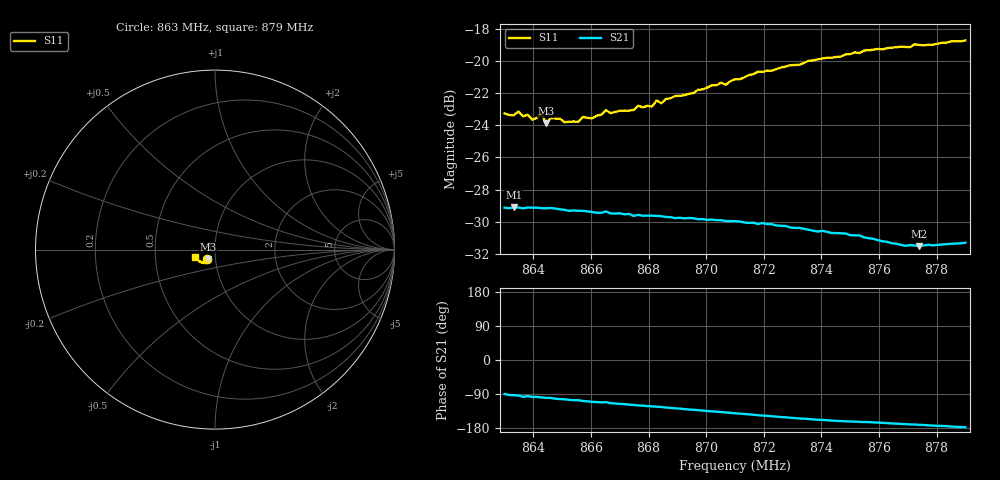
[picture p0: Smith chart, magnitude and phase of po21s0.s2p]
# HZ S RI R 50
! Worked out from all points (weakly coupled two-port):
!   101 points, 863 MHz to 879 MHz, reference 50 ohm
!   highest |S21| = -29.12 dB at 863.32 MHz (marker M1); lowest = -31.5 dB at 877.4 MHz (marker M2)
!   lowest |S11| = -23.9 dB at 864.44 MHz (marker M3), VSWR 1.14, Z = 46.2 - j4.84 ohm
!   |S11| at or under -10 dB: start of sweep to end of sweep
!   S12 and S22 are empty: the file has one direction only
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8.63e8  -0.0457 -0.0513  9.2e-05 -0.035  0 0  0 0
8.6332e8  -0.0436 -0.052  -0.00181 -0.035  0 0  0 0
8.6348e8  -0.0451 -0.0532  -0.00222 -0.0349  0 0  0 0
8.6396e8  -0.0391 -0.0528  -0.00454 -0.0346  0 0  0 0
8.6428e8  -0.0401 -0.0555  -0.00531 -0.0344  0 0  0 0
8.6444e8  -0.0371 -0.0522  -0.00592 -0.0343  0 0  0 0
8.646e8  -0.0372 -0.055  -0.00615 -0.0343  0 0  0 0
8.6556e8  -0.0353 -0.0543  -0.00947 -0.0328  0 0  0 0
8.6572e8  -0.0346 -0.0574  -0.0106 -0.0325  0 0  0 0
8.6604e8  -0.0343 -0.0568  -0.0118 -0.0318  0 0  0 0
8.6652e8  -0.0353 -0.0608  -0.0123 -0.0317  0 0  0 0
8.6668e8  -0.0344 -0.0597  -0.0136 -0.0307  0 0  0 0
8.6748e8  -0.0341 -0.0617  -0.0157 -0.0289  0 0  0 0
8.6764e8  -0.0358 -0.0632  -0.0165 -0.0288  0 0  0 0
8.6812e8  -0.0356 -0.0628  -0.0177 -0.0279  0 0  0 0
8.6828e8  -0.0358 -0.0664  -0.018 -0.0276  0 0  0 0
8.6844e8  -0.0351 -0.0651  -0.0184 -0.0272  0 0  0 0
8.71e8  -0.049 -0.073  -0.0245 -0.0201  0 0  0 0
8.7372e8  -0.0682 -0.0739  -0.0272 -0.0117  0 0  0 0
8.7644e8  -0.0911 -0.062  -0.0265 -0.00588  0 0  0 0
8.774e8  -0.0982 -0.0547  -0.0262 -0.00405  0 0  0 0
8.79e8  -0.1092 -0.0391  -0.0272 -0.00113  0 0  0 0
